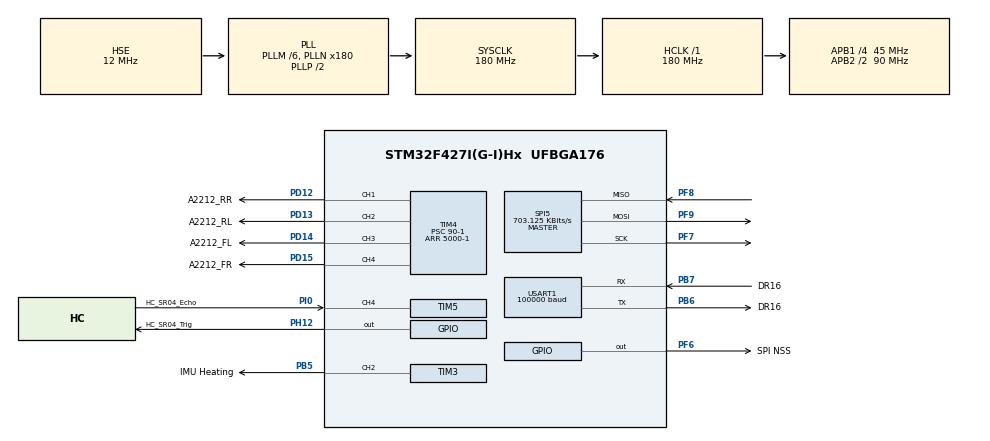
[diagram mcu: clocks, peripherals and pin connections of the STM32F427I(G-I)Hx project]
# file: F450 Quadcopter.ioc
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Dma.Request0=USART1_RX
Dma.USART1_RX.0.Direction=DMA_PERIPH_TO_MEMORY
Dma.USART1_RX.0.FIFOMode=DMA_FIFOMODE_DISABLE
Dma.USART1_RX.0.Instance=DMA2_Stream2
Dma.USART1_RX.0.MemDataAlignment=DMA_MDATAALIGN_BYTE
Dma.USART1_RX.0.MemInc=DMA_MINC_ENABLE
Dma.USART1_RX.0.Mode=DMA_CIRCULAR
Dma.USART1_RX.0.PeriphDataAlignment=DMA_PDATAALIGN_BYTE
Dma.USART1_RX.0.PeriphInc=DMA_PINC_DISABLE
Dma.USART1_RX.0.Priority=DMA_PRIORITY_LOW
FREERTOS.INCLUDE_vTaskDelayUntil=1
FREERTOS.Tasks01=Task_IMU,0,384,StartIMUTask,Default,NULL,Dynamic,NULL,NULL;Task_Init,2,128,General_Init,Default,NULL,Dynamic,NULL,NULL;Task_Robot_Ctrl,3,640,Robot_Control,Default,NULL,Dynamic,NULL,NULL
Mcu.Family=STM32F4
Mcu.Name=STM32F427I(G-I)Hx
Mcu.Package=UFBGA176
NVIC.DMA2_Stream2_IRQn=true\:0\:0\:true\:false\:true\:false\:false\:false\:true
NVIC.PriorityGroup=NVIC_PRIORITYGROUP_4
NVIC.TIM5_IRQn=true\:5\:0\:true\:false\:true\:true\:true\:true\:true
NVIC.TIM6_DAC_IRQn=true\:15\:0\:true\:false\:true\:false\:false\:true\:true
NVIC.TimeBase=TIM6_DAC_IRQn
NVIC.TimeBaseIP=TIM6
NVIC.USART1_IRQn=true\:5\:0\:true\:false\:true\:true\:true\:false\:true
PA13.Mode=Serial_Wire
PA13.Signal=SYS_JTMS-SWDIO
PA14.Mode=Serial_Wire
PA14.Signal=SYS_JTCK-SWCLK
PB5.GPIO_Label=IMU Heating
PB5.Signal=S_TIM3_CH2
PB6.GPIO_Label=DR16
PB6.GPIO_PuPd=GPIO_PULLUP
PB6.Mode=Asynchronous
PB6.Signal=USART1_TX
PB7.GPIO_Label=DR16
PB7.GPIO_PuPd=GPIO_PULLUP
PB7.Mode=Asynchronous
PB7.Signal=USART1_RX
PD12.GPIO_Label=A2212_RR
PD12.Signal=S_TIM4_CH1
PD13.GPIO_Label=A2212_RL
PD13.Signal=S_TIM4_CH2
PD14.GPIO_Label=A2212_FL
PD14.Signal=S_TIM4_CH3
PD15.GPIO_Label=A2212_FR
PD15.Signal=S_TIM4_CH4
PF6.GPIO_Label=SPI NSS
PF6.GPIO_PuPd=GPIO_PULLUP
PF6.GPIO_Speed=GPIO_SPEED_FREQ_LOW
PF6.Signal=GPIO_Output
PF7.Mode=Full_Duplex_Master
PF7.Signal=SPI5_SCK
PF8.Mode=Full_Duplex_Master
PF8.Signal=SPI5_MISO
PF9.Mode=Full_Duplex_Master
PF9.Signal=SPI5_MOSI
PH0/OSC_IN.Mode=HSE-External-Oscillator
PH0/OSC_IN.Signal=RCC_OSC_IN
PH1/OSC_OUT.Mode=HSE-External-Oscillator
PH1/OSC_OUT.Signal=RCC_OSC_OUT
PH12.GPIO_Label=HC_SR04_Trig
PH12.GPIO_Speed=GPIO_SPEED_FREQ_HIGH
PH12.Signal=GPIO_Output
PI0.GPIO_Label=HC_SR04_Echo
PI0.Signal=S_TIM5_CH4
ProjectManager.HeapSize=0x200
ProjectManager.StackSize=0x400
ProjectManager.TargetToolchain=MDK-ARM V5.32
RCC.48MHZClocksFreq_Value=90000000
RCC.AHBFreq_Value=180000000
RCC.APB1CLKDivider=RCC_HCLK_DIV4
RCC.APB1Freq_Value=45000000
RCC.APB1TimFreq_Value=90000000
RCC.APB2CLKDivider=RCC_HCLK_DIV2
RCC.APB2Freq_Value=90000000
RCC.APB2TimFreq_Value=180000000
RCC.CortexFreq_Value=180000000
RCC.HCLKFreq_Value=180000000
RCC.HSE_VALUE=12000000
RCC.HSI_VALUE=16000000
RCC.LSE_VALUE=32768
RCC.PLLM=6
RCC.PLLN=180
RCC.PLLSourceVirtual=RCC_PLLSOURCE_HSE
RCC.SYSCLKFreq_VALUE=180000000
RCC.SYSCLKSource=RCC_SYSCLKSOURCE_PLLCLK
RCC.VCOOutputFreq_Value=360000000
SH.S_TIM3_CH2.0=TIM3_CH2,PWM Generation2 CH2
SH.S_TIM4_CH1.0=TIM4_CH1,PWM Generation1 CH1
SH.S_TIM4_CH2.0=TIM4_CH2,PWM Generation2 CH2
SH.S_TIM4_CH3.0=TIM4_CH3,PWM Generation3 CH3
SH.S_TIM4_CH4.0=TIM4_CH4,PWM Generation4 CH4
SH.S_TIM5_CH4.0=TIM5_CH4,Input_Capture4_from_TI4
SPI5.BaudRatePrescaler=SPI_BAUDRATEPRESCALER_128
SPI5.CalculateBaudRate=703.125 KBits/s
SPI5.Direction=SPI_DIRECTION_2LINES
SPI5.Mode=SPI_MODE_MASTER
SPI5.VirtualType=VM_MASTER
TIM3.Channel-PWM\ Generation2\ CH2=TIM_CHANNEL_2
TIM3.Period=4999
TIM4.Channel-PWM\ Generation1\ CH1=TIM_CHANNEL_1
TIM4.Channel-PWM\ Generation2\ CH2=TIM_CHANNEL_2
TIM4.Channel-PWM\ Generation3\ CH3=TIM_CHANNEL_3
TIM4.Channel-PWM\ Generation4\ CH4=TIM_CHANNEL_4
TIM4.Period=5000-1
TIM4.Prescaler=90-1
TIM5.Channel-Input_Capture4_from_TI4=TIM_CHANNEL_4
TIM5.ICFilter_CH4=0
TIM5.ICPolarity_CH4=TIM_INPUTCHANNELPOLARITY_RISING
TIM5.Period=100000-1
TIM5.Prescaler=90-1
USART1.BaudRate=100000
USART1.VirtualMode=VM_ASYNC
VP_FREERTOS_VS_CMSIS_V1.Mode=CMSIS_V1
VP_SYS_VS_tim6.Mode=TIM6
VP_TIM3_VS_ClockSourceINT.Mode=Internal
VP_TIM4_VS_ClockSourceINT.Mode=Internal
VP_TIM5_VS_ClockSourceINT.Mode=Internal
board=custom

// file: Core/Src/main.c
/* USER CODE BEGIN Header */
/**
  ******************************************************************************
  * @file           : main.c
  * @brief          : Main program body
  ******************************************************************************
  * @attention
  *
  * Copyright (c) 2023 STMicroelectronics.
  * All rights reserved.
  *
  * This software is licensed under terms that can be found in the LICENSE file
  * in the root directory of this software component.
  * If no LICENSE file comes with this software, it is provided AS-IS.
  *
  ******************************************************************************
  */
/* USER CODE END Header */
#include "main.h"
#include "cmsis_os.h"
#include "dma.h"
#include "spi.h"
#include "tim.h"
#include "usart.h"
#include "gpio.h"

void SystemClock_Config(void);
void MX_FREERTOS_Init(void);

int main(void)
{

  /* MCU Configuration--------------------------------------------------------*/

  /* Reset of all peripherals, Initializes the Flash interface and the Systick. */
  HAL_Init();

  /* Configure the system clock */
  SystemClock_Config();

  /* Initialize all configured peripherals */
  MX_GPIO_Init();
  MX_DMA_Init();
  MX_TIM3_Init();
  MX_USART1_UART_Init();
  MX_SPI5_Init();
  MX_TIM5_Init();
  MX_TIM4_Init();

  /* Call init function for freertos objects (in freertos.c) */
  MX_FREERTOS_Init();

  /* Start scheduler */
  osKernelStart();

  /* We should never get here as control is now taken by the scheduler */
  /* Infinite loop */
  while (1)
  {

  }
}

void SystemClock_Config(void)
{
  RCC_OscInitTypeDef RCC_OscInitStruct = {0};
  RCC_ClkInitTypeDef RCC_ClkInitStruct = {0};

  /** Configure the main internal regulator output voltage
  */
  __HAL_RCC_PWR_CLK_ENABLE();
  __HAL_PWR_VOLTAGESCALING_CONFIG(PWR_REGULATOR_VOLTAGE_SCALE1);

  /** Initializes the RCC Oscillators according to the specified parameters
  * in the RCC_OscInitTypeDef structure.
  */
  RCC_OscInitStruct.OscillatorType = RCC_OSCILLATORTYPE_LSI|RCC_OSCILLATORTYPE_HSE;
  RCC_OscInitStruct.HSEState = RCC_HSE_ON;
  RCC_OscInitStruct.LSIState = RCC_LSI_ON;
  RCC_OscInitStruct.PLL.PLLState = RCC_PLL_ON;
  RCC_OscInitStruct.PLL.PLLSource = RCC_PLLSOURCE_HSE;
  RCC_OscInitStruct.PLL.PLLM = 6;
  RCC_OscInitStruct.PLL.PLLN = 180;
  RCC_OscInitStruct.PLL.PLLP = RCC_PLLP_DIV2;
  RCC_OscInitStruct.PLL.PLLQ = 4;
  if (HAL_RCC_OscConfig(&RCC_OscInitStruct) != HAL_OK)
  {
    Error_Handler();
  }

  /** Activate the Over-Drive mode
  */
  if (HAL_PWREx_EnableOverDrive() != HAL_OK)
  {
    Error_Handler();
  }

  /** Initializes the CPU, AHB and APB buses clocks
  */
  RCC_ClkInitStruct.ClockType = RCC_CLOCKTYPE_HCLK|RCC_CLOCKTYPE_SYSCLK
                              |RCC_CLOCKTYPE_PCLK1|RCC_CLOCKTYPE_PCLK2;
  RCC_ClkInitStruct.SYSCLKSource = RCC_SYSCLKSOURCE_PLLCLK;
  RCC_ClkInitStruct.AHBCLKDivider = RCC_SYSCLK_DIV1;
  RCC_ClkInitStruct.APB1CLKDivider = RCC_HCLK_DIV4;
  RCC_ClkInitStruct.APB2CLKDivider = RCC_HCLK_DIV2;

  if (HAL_RCC_ClockConfig(&RCC_ClkInitStruct, FLASH_LATENCY_5) != HAL_OK)
  {
    Error_Handler();
  }
}

void HAL_TIM_PeriodElapsedCallback(TIM_HandleTypeDef *htim)
{
  if (htim->Instance == TIM6) {
    HAL_IncTick();
  }
}

void Error_Handler(void)
{
  __disable_irq();
  while (1)
  {
  }
}

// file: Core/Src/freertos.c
/* USER CODE BEGIN Header */
/**
  ******************************************************************************
  * File Name          : freertos.c
  * Description        : Code for freertos applications
  ******************************************************************************
  * @attention
  *
  * Copyright (c) 2022 STMicroelectronics.
  * All rights reserved.
  *
  * This software is licensed under terms that can be found in the LICENSE file
  * in the root directory of this software component.
  * If no LICENSE file comes with this software, it is provided AS-IS.
  *
  ******************************************************************************
  */
/* USER CODE END Header */

#include "FreeRTOS.h"
#include "task.h"
#include "main.h"
#include "cmsis_os.h"

/* USER CODE BEGIN Includes */
#include "Board_A_IMU.h"
#include "IMU_Temp_Control.h"
#include "DR16_Remote.h"
#include "Fusion.h"
#include "Robot_Control.h"
#include "HC_SR04.h"
#include "A2212_Motor.h"
/* USER CODE END Includes */

osThreadId Task_IMUHandle;
osThreadId Task_InitHandle;
osThreadId Task_Robot_CtrlHandle;

void StartIMUTask(void const * argument);
void General_Init(void const * argument);
void Robot_Control(void const * argument);

void MX_FREERTOS_Init(void); /* (MISRA C 2004 rule 8.1) */

/* GetIdleTaskMemory prototype (linked to static allocation support) */
void vApplicationGetIdleTaskMemory( StaticTask_t **ppxIdleTaskTCBBuffer, StackType_t **ppxIdleTaskStackBuffer, uint32_t *pulIdleTaskStackSize );

/* USER CODE BEGIN GET_IDLE_TASK_MEMORY */
static StaticTask_t xIdleTaskTCBBuffer;
static StackType_t xIdleStack[configMINIMAL_STACK_SIZE];

void vApplicationGetIdleTaskMemory( StaticTask_t **ppxIdleTaskTCBBuffer, StackType_t **ppxIdleTaskStackBuffer, uint32_t *pulIdleTaskStackSize )
{
  *ppxIdleTaskTCBBuffer = &xIdleTaskTCBBuffer;
  *ppxIdleTaskStackBuffer = &xIdleStack[0];
  *pulIdleTaskStackSize = configMINIMAL_STACK_SIZE;
  /* place for user code */
}
/* USER CODE END GET_IDLE_TASK_MEMORY */

void MX_FREERTOS_Init(void) {

  /* Create the thread(s) */
  /* definition and creation of Task_IMU */
  osThreadDef(Task_IMU, StartIMUTask, osPriorityNormal, 0, 384);
  Task_IMUHandle = osThreadCreate(osThread(Task_IMU), NULL);

  /* definition and creation of Task_Init */
  osThreadDef(Task_Init, General_Init, osPriorityHigh, 0, 128);
  Task_InitHandle = osThreadCreate(osThread(Task_Init), NULL);

  /* definition and creation of Task_Robot_Ctrl */
  osThreadDef(Task_Robot_Ctrl, Robot_Control, osPriorityRealtime, 0, 640);
  Task_Robot_CtrlHandle = osThreadCreate(osThread(Task_Robot_Ctrl), NULL);

}

void StartIMUTask(void const * argument)
{
  /* USER CODE BEGIN StartIMUTask */
	portTickType xLastWakeTime;
  xLastWakeTime = xTaskGetTickCount();

  const TickType_t TimeIncrement = pdMS_TO_TICKS(1);
  /* Infinite loop */
  for(;;)
  {
    //Board_A_IMU_Func.Board_A_IMU_Calibrate(&Board_A_IMU);
		Board_A_IMU_Func.Board_A_IMU_Read_Data(&Board_A_IMU);
		Board_A_IMU_Func.Board_A_IMU_Calc_Angle(&Board_A_IMU);
		IMU_Temp_Control_Func.Board_A_IMU_Temp_Control();
		HC_SR04_Func.HC_SR04_Start();

		vTaskDelayUntil(&xLastWakeTime, TimeIncrement);
  }
  /* USER CODE END StartIMUTask */
}

void General_Init(void const * argument)
{
  /* USER CODE BEGIN General_Init */
	IMU_Temp_Control_Func.Board_A_IMU_Temp_Control_Init();
	Board_A_IMU_Func.Board_A_IMU_Init();
	FusionAhrsInitialise(&Board_A_IMU_AHRS);
	DR16_Func.DR16_USART_Receive_DMA(&huart1);
	HC_SR04_Func.HC_SR04_Init();
	A2212_Motor_Func.A2212_Motor_Init(&htim4);
	vTaskDelete(NULL);
  /* Infinite loop */
  /* USER CODE END General_Init */
}

void Robot_Control(void const * argument)
{
  /* USER CODE BEGIN Robot_Control */
	portTickType xLastWakeTime;
  xLastWakeTime = xTaskGetTickCount();

  const TickType_t TimeIncrement = pdMS_TO_TICKS(2);
  /* Infinite loop */
  for(;;)
  {
		Robot_Func.Robot_Get_Data();
		Robot_Func.Robot_In_Control();

		vTaskDelayUntil(&xLastWakeTime, TimeIncrement);
  }
  /* USER CODE END Robot_Control */
}
